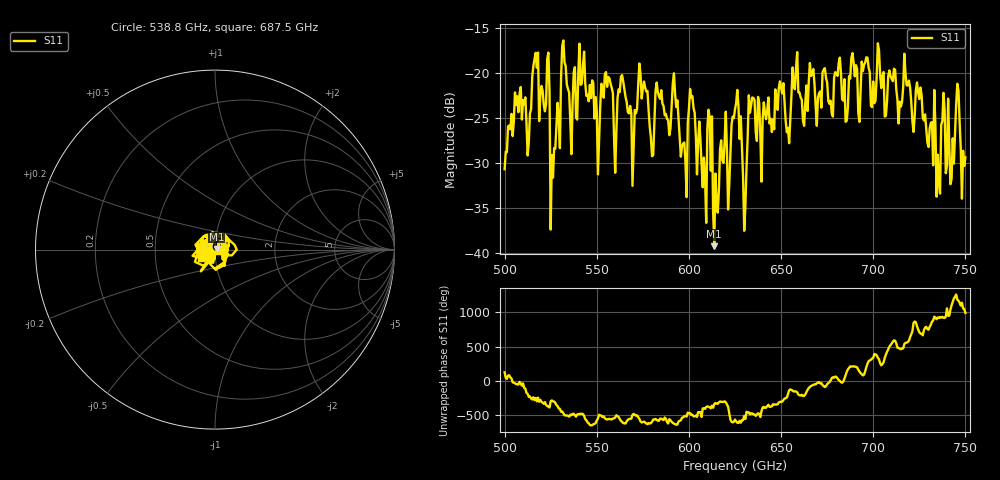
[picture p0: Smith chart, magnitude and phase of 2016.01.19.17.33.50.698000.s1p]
!Created with skrf (http://scikit-rf.org).
# GHz S RI R 50.0
!freq ReS11 ImS11
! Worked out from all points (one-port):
!   401 points, 500 GHz to 750 GHz, reference 50 ohm
!   lowest |S11| = -39.3 dB at 613.8 GHz (marker M1), VSWR 1.02, Z = 51 + j0.399 ohm
!   |S11| at or under -10 dB: start of sweep to end of sweep
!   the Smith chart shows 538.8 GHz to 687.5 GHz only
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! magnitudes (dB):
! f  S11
! 500 GHz  -30.7
! 506.9 GHz  -22.6
! 513.1 GHz  -27.7
! 516.9 GHz  -17.8
! 523.1 GHz  -18.5
! 526.2 GHz  -31.7
! 531.2 GHz  -17.1
! 550 GHz  -24.3
! 562.5 GHz  -22.2
! 568.8 GHz  -24.5
! 573.8 GHz  -20.2
! 580 GHz  -29.3
! 583.1 GHz  -22.2
! 593.8 GHz  -23.1
! 597.5 GHz  -27.8
! 601.9 GHz  -22.6
! 608.1 GHz  -29.4
! 611.2 GHz  -25.0
! 613.8 GHz  -39.3
! 625 GHz  -24.1
! 630 GHz  -37.6
! 633.8 GHz  -23.6
! 656.2 GHz  -19.4
! 687.5 GHz  -20.7
! 718.8 GHz  -21.4
! 735 GHz  -29.1
! 745.6 GHz  -21.2
! 750 GHz  -29.4
